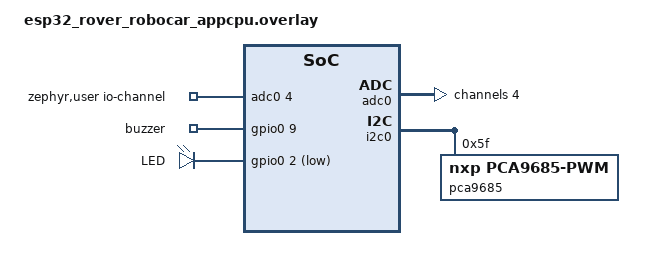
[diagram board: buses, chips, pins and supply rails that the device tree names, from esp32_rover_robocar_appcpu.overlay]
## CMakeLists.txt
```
# boilerplate cmake
cmake_minimum_required(VERSION 3.20.0)

# import custom board package
list(APPEND BOARD_ROOT ${CMAKE_CURRENT_SOURCE_DIR}/../../)

# import overlays for CPUs
# if(DEFINED BOARD_ESP32_ROVER_PROCPU)
#     set(DTC_OVERLAY_FILE ${CMAKE_CURRENT_SOURCE_DIR}/applications/app_core/esp32_rover_robocar_procpu.overlay)
# elseif(DEFINED BOARD_ESP32_ROVER_APPCPU)
    set(DTC_OVERLAY_FILE ${CMAKE_CURRENT_SOURCE_DIR}/esp32_rover_robocar_appcpu.overlay)
# endif()

# import zephyr package; this is required for ZephyrOS cmake system to work
find_package(Zephyr REQUIRED HINTS $ENV{ZEPHYR_BASE})
project(ESP32_ROVER_PROCPU)

file(GLOB_RECURSE srcs ${CMAKE_CURRENT_SOURCE_DIR}/src/*.c*)

target_sources(app PRIVATE ${srcs})
```

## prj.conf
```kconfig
# CPP Settings
CONFIG_CPP=y
CONFIG_STD_CPP2B=y
CONFIG_REQUIRES_FULL_LIBCPP=y

# shell settings
CONFIG_SHELL=y
CONFIG_SHELL_PROMPT_UART="CarOS:~$ "

# application settings
CONFIG_MAIN_STACK_SIZE=2048

# logging settings
CONFIG_LOG=y
# CONFIG_LOG_BACKEND_UART=y

# Peripherals
CONFIG_ADC=y
CONFIG_ADC_SHELL=y

CONFIG_GPIO=y
CONFIG_GPIO_SHELL=y

CONFIG_I2C=y
CONFIG_I2C_SHELL=y

CONFIG_PWM=y
CONFIG_PWM_SHELL=y
CONFIG_PWM_PCA9685=y


CONFIG_BT=y

# todo: Enabling PM disables shell; find out why
# CONFIG_PM=y
# CONFIG_PM_SHELL=y

# CONFIG_WS2812_STRIP_GPIO=y
# CONFIG_LED_STRIP=y
```

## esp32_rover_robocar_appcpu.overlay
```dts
/**
 * @brief ESP32 Rover Kit DTS Overlay File
 */
#include <zephyr/dt-bindings/led/led.h>

/ {
    zephyr,user {
        io-channels = <&adc0 4>;
    };

    chosen {
        zephyr,adc = &adc0;
    };

    buzzers {
        compatible = "gpio-leds";

        buzzer0: buzzer_0 {
            gpios = <&gpio0 9 GPIO_ACTIVE_HIGH>;
            label = "buzzer";
        };
    };

    leds {
        compatible = "gpio-leds";

        led0: led_0 {
            gpios = <&gpio0 2 GPIO_ACTIVE_LOW>;
            label = "LED";
        };
    };

    // led_strip: ws2812 {
        //     compatible = "worldsemi,ws2812-gpio";
        //     chain-length = <12>; /* arbitrary */
        //     color-mapping = <LED_COLOR_ID_GREEN
        //     LED_COLOR_ID_RED
        //     LED_COLOR_ID_BLUE>;
        //     gpios = <&gpio0 32 0>;
    // };

    aliases
    {
        // led-strip = &led_strip;
        adc0 = &adc0;
        pca9685 = &pca9685;
        buzzer0 = &buzzer0;
        led0 = &led0;
    };
};

&adc0 {
    status = "okay";
    #address-cells = <1>;
    #size-cells = <0>;

    compatible = "espressif,esp32-adc";
    unit = <0>;

    channel@4 {
        /* Battery Monitor ADC instance */
        reg = <4>;
        zephyr,gain = "ADC_GAIN_1_6";
        zephyr,reference = "ADC_REF_INTERNAL";
        zephyr,acquisition-time = <ADC_ACQ_TIME(ADC_ACQ_TIME_MICROSECONDS, 20)>;
        zephyr,resolution = <12>;
    };
};

&i2c0 {
    pca9685: pca9685@5f {
        /* PCA9685 PWM driver */
        compatible = "nxp,pca9685-pwm";
        #pwm-cells = <2>;
        reg = <0x5f>;
        status = "okay";
    };
};
```

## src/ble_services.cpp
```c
/* main.c - Application main entry point */

/*
 * Copyright (c) 2015-2016 Intel Corporation
 *
 * SPDX-License-Identifier: Apache-2.0
 */

#include <zephyr/types.h>
#include <stddef.h>
#include <zephyr/sys/printk.h>
#include <zephyr/sys/util.h>

#include <zephyr/bluetooth/bluetooth.h>

#include <zephyr/logging/log.h>
LOG_MODULE_REGISTER(BLE);

static uint8_t mfg_data[] = { 0xDE, 0xAD, 0xBE, 0xEF };

static uint8_t name[] = "ROVER";

static const struct bt_data ad[] = {
    BT_DATA(BT_DATA_MANUFACTURER_DATA, mfg_data, sizeof(mfg_data)),
};

/* Set Scan Response data */
static const struct bt_data sd[] = {
    BT_DATA(BT_DATA_NAME_COMPLETE, name, sizeof(name)),
};

int ble_adv_fn(void)
{
    /* Initialize the Bluetooth Subsystem */
    int err = bt_enable(NULL);
    if (err) {
        printk("Bluetooth init failed (err %d)\n", err);
        return 0;
    }
    LOG_INF("BLE initialized");

    /* Start advertising */
    err = bt_le_adv_start(BT_LE_ADV_NCONN_IDENTITY, ad, ARRAY_SIZE(ad), sd, ARRAY_SIZE(sd));
    if (err) {
        printk("Advertising failed to start (err %d)\n", err);
        return 0;
    }
    LOG_INF("BLE advertisement started");

    /* sleep this thread */
    while (1) {
        k_sleep(K_MSEC(1000));
    }
    return 0;
}

K_THREAD_DEFINE(ble_adv, 512u, ble_adv_fn, NULL, NULL, NULL, 2u, 0, 0);
```
